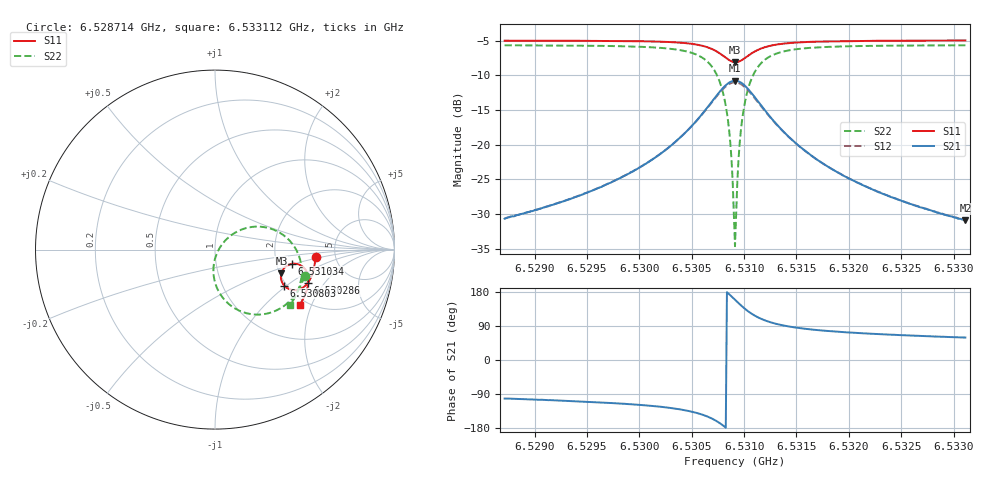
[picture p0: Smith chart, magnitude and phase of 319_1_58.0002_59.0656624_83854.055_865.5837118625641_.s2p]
#  HZ  S  RI  R  50.00
! Rohde & Schwarz Vector Network Analyzer
! Rohde-Schwarz,ZNB20-2Port,1311601062101988,3.16
! Created: UTC 3/21/2024, 1:04:37 AM
! freq[Hz]  re:S11  im:S11  re:S21  im:S21  re:S12  im:S12  re:S22  im:S22
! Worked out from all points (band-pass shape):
!   401 points, 6.528714 GHz to 6.533112 GHz, reference 50 ohm
!   highest |S21| = -10.78 dB at 6.530913 GHz (marker M1); lowest = -30.9 dB at 6.533112 GHz (marker M2)
!   |S21| within 3 dB of the highest: 6.530694 GHz to 6.531133 GHz (439.4 kHz wide, 0.00673 % of centre)
!   lowest |S11| = -8.1 dB at 6.530913 GHz (marker M3), VSWR 2.29, Z = 102 - j31.7 ohm
!   |S11| at or under -10 dB: nowhere
!   |S22| runs from -34.6 to -5.7 dB; largest |S21 - S12| = 0.011
!   S11 on the Smith chart (normalised r, x): 6.528714 GHz: 3.50, -0.43; 6.530286 GHz: 2.61, -1.39; 6.530803 GHz: 1.94, -0.96; 6.531034 GHz: 2.43, -0.48; 6.533112 GHz: 1.83, -1.65
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6.5287141e9  0.5601 -0.0424  -0.00593 -0.0286  -0.00648 -0.0286  0.4991 -0.1468
6.5294508e9  0.5511 -0.1031  -0.0146 -0.041  -0.0155 -0.0408  0.4707 -0.2139
6.5301875e9  0.5246 -0.1741  -0.0459 -0.0706  -0.0479 -0.0696  0.3942 -0.3066
6.5302865e9  0.5168 -0.1856  -0.0568 -0.0776  -0.059 -0.0761  0.3713 -0.3229
6.5306383e9  0.4541 -0.2253  -0.1531 -0.096  -0.1551 -0.09  0.1881 -0.3573
6.5307373e9  0.415 -0.221  -0.2134 -0.0727  -0.2132 -0.064  0.0848 -0.3098
6.5308033e9  0.3861 -0.2011  -0.2567 -0.0285  -0.2527 -0.0191  0.0179 -0.2283
6.5308582e9  0.3693 -0.1701  -0.2784 0.032  -0.2707 0.0396  -0.00877 -0.1243
6.5308692e9  0.3678 -0.1625  -0.2794 0.046  -0.2711 0.0529  -0.00849 -0.101
6.5308912e9  0.3673 -0.1469  -0.2776 0.0748  -0.2683 0.0801  -0.000786 -0.0538
6.5309022e9  0.368 -0.1389  -0.2746 0.0891  -0.2648 0.0936  0.00672 -0.0308
6.5309132e9  0.3699 -0.1311  -0.27 0.1031  -0.2602 0.1069  0.0165 -0.0084
6.5309242e9  0.3727 -0.1235  -0.2641 0.1168  -0.2542 0.1195  0.0281 0.013
6.5309352e9  0.3761 -0.1164  -0.2569 0.1297  -0.2472 0.1314  0.042 0.0328
6.5309572e9  0.3851 -0.1035  -0.239 0.1524  -0.2299 0.1527  0.0748 0.0675
6.5309792e9  0.3962 -0.0931  -0.2183 0.171  -0.2098 0.1698  0.1123 0.0946
6.5310342e9  0.4277 -0.0795  -0.1611 0.1961  -0.1553 0.1933  0.2111 0.1269
6.5311111e9  0.4663 -0.0827  -0.0932 0.1941  -0.0903 0.1914  0.3252 0.1115
6.5312211e9  0.499 -0.1052  -0.036 0.1643  -0.0345 0.163  0.4183 0.0474
6.5316499e9  0.5206 -0.181  0.0138 0.0814  0.0148 0.0811  0.4828 -0.1291
6.5323866e9  0.5008 -0.2536  0.0164 0.0389  0.0172 0.0389  0.4554 -0.2443
6.5331123e9  0.4728 -0.3068  0.0145 0.0245  0.0151 0.0242  0.4203 -0.3065
